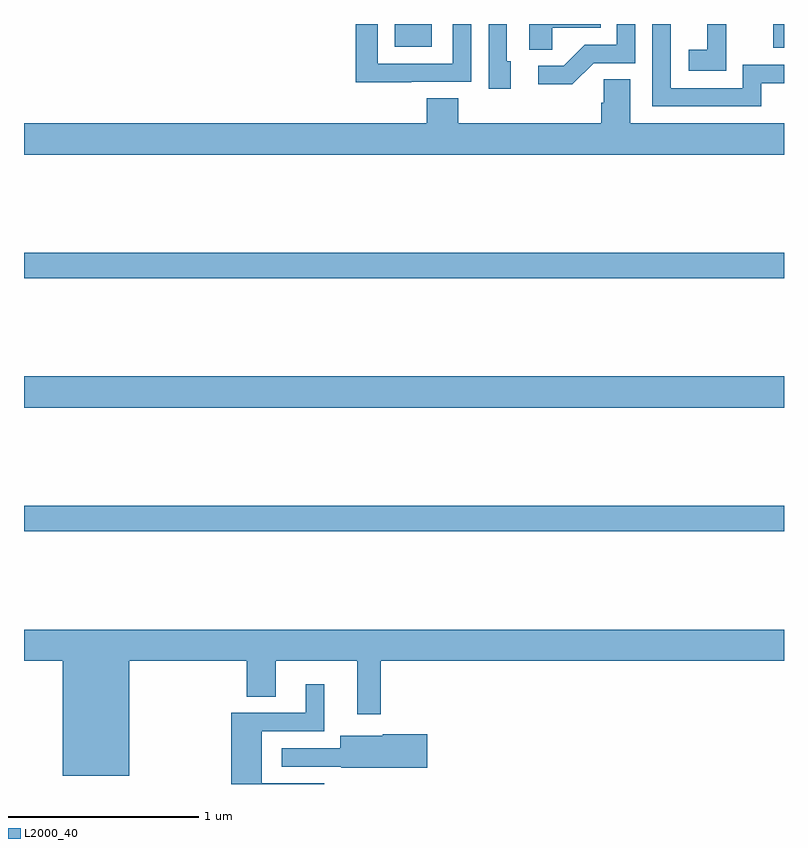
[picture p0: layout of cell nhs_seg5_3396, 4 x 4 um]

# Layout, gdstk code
import gdstk
lib = gdstk.Library(unit=1e-6, precision=1e-09)
def R(c, l, rs):  # rectangles x0, y0, x1, y1
    for r in rs: c.add(gdstk.rectangle(r[:2], r[2:], *l))
def P(c, l, *ps):  # polygons
    for p in ps: c.add(gdstk.Polygon(p, *l))
L2000_40 = (2000, 40)

nhs_seg5_3396 = lib.new_cell('nhs_seg5_3396')
R(nhs_seg5_3396, L2000_40, [(311,836.128,315,836.264), (311,836.78,315,836.944), (311,837.46,315,837.596), (314.944,838.674,315,838.799), (312.95,838.679,313.147,838.799)])
P(nhs_seg5_3396, L2000_40, [(314.697,838.759),(314.696,838.759),(314.696,838.799),(314.597,838.799),(314.597,838.663),(314.499,838.663),(314.499,838.553),(314.697,838.553)],
  [(313.037,838.494),(313.353,838.494),(313.353,838.799),(313.257,838.799),(313.257,838.59),(312.861,838.59),(312.861,838.799),(312.745,838.799),(312.745,838.493),(313.037,838.493)],
  [(314.881,838.488),(315,838.488),(315,838.584),(314.784,838.584),(314.784,838.461),(314.403,838.461),(314.403,838.799),(314.307,838.799),(314.307,838.365),(314.881,838.365)],
  [(313.561,838.602),(313.542,838.602),(313.542,838.799),(313.446,838.799),(313.446,838.458),(313.561,838.458)],
  [(313.779,838.778),(314.036,838.778),(314.036,838.799),(313.658,838.799),(313.658,838.663),(313.779,838.663)],
  [(313.998,838.593),(314.217,838.593),(314.217,838.799),(314.121,838.799),(314.121,838.689),(313.952,838.689),(313.841,838.578),(313.707,838.578),(313.707,838.481),(313.885,838.481)],
  [(315,838.276),(314.191,838.276),(314.191,838.508),(314.052,838.508),(314.052,838.385),(314.039,838.385),(314.039,838.276),(313.286,838.276),(313.286,838.409),(313.121,838.409),(313.121,838.276),(311,838.276),(311,838.112),(315,838.112)],
  [(311.554,835.448),(312.173,835.448),(312.173,835.258),(312.325,835.258),(312.325,835.448),(312.755,835.448),(312.755,835.167),(312.877,835.167),(312.877,835.448),(315,835.448),(315,835.612),(311,835.612),(311,835.448),(311.204,835.448),(311.204,834.842),(311.554,834.842)],
  [(312.58,834.802),(312.25,834.802),(312.25,835.077),(312.58,835.077),(312.58,835.324),(312.482,835.324),(312.482,835.173),(312.092,835.173),(312.092,834.799),(312.58,834.799)],
  [(313.123,835.062),(312.888,835.062),(312.888,835.054),(312.665,835.054),(312.665,834.987),(312.357,834.987),(312.357,834.891),(312.669,834.891),(312.669,834.884),(313.123,834.884)])

lib.write_gds('nhs_seg5_3396.gds')
